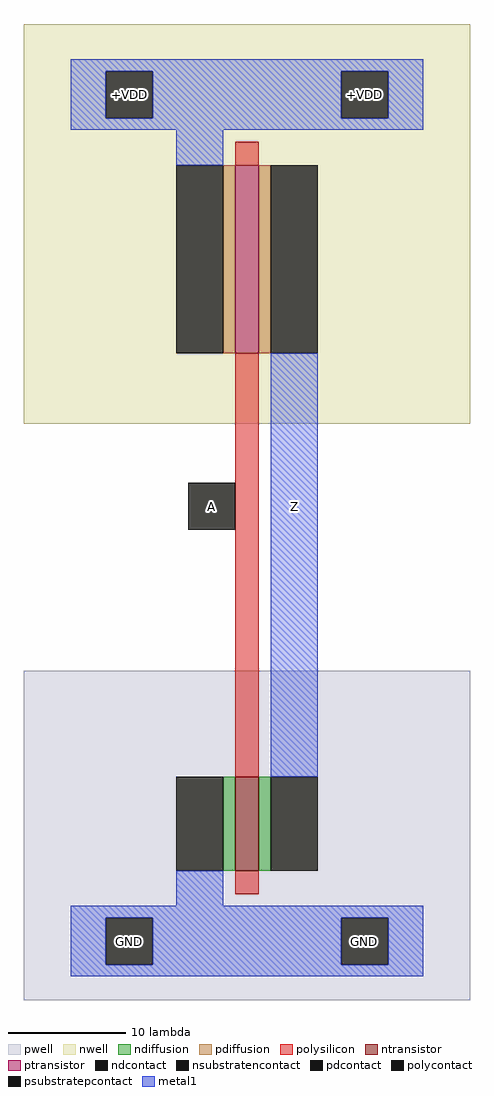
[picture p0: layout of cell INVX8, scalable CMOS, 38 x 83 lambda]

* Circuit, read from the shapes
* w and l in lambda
.subckt INVX8 +VDD A GND Z
M1 Z A GND GND nfet w=8 l=2
M2 Z A +VDD +VDD pfet w=16 l=2
.ends

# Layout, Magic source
magic
tech scmos
<< nwell >>
rect -28 -9 10 25
<< pwell >>
rect -28 -58 10 -30
<< ntransistor >>
rect -10 -47 -8 -39
<< ptransistor >>
rect -10 -3 -8 13
<< ndiffusion >>
rect -11 -47 -10 -39
rect -8 -47 -7 -39
<< pdiffusion >>
rect -11 -3 -10 13
rect -8 -3 -7 13
<< ndcontact >>
rect -15 -47 -11 -39
rect -7 -47 -3 -39
<< pdcontact >>
rect -15 -3 -11 13
rect -7 -3 -3 13
<< psubstratepcontact >>
rect -21 -55 -17 -51
rect -1 -55 3 -51
<< nsubstratencontact >>
rect -21 17 -17 21
rect -1 17 3 21
<< polysilicon >>
rect -10 13 -8 15
rect -10 -39 -8 -3
rect -10 -49 -8 -47
<< polycontact >>
rect -14 -18 -10 -14
<< metal1 >>
rect -24 21 6 22
rect -24 17 -21 21
rect -17 17 -1 21
rect 3 17 6 21
rect -24 16 6 17
rect -15 13 -11 16
rect -7 -39 -3 -3
rect -15 -50 -11 -47
rect -24 -51 6 -50
rect -24 -55 -21 -51
rect -17 -55 -1 -51
rect 3 -55 6 -51
rect -24 -56 6 -55
<< labels >>
rlabel nsubstratencontact -19 19 -19 19 1 +VDD
rlabel nsubstratencontact 1 19 1 19 1 +VDD
rlabel psubstratepcontact -19 -53 -19 -53 1 GND
rlabel psubstratepcontact 1 -53 1 -53 1 GND
rlabel polycontact -12 -16 -12 -16 1 A
rlabel metal1 -5 -16 -5 -16 1 Z
<< end >>
